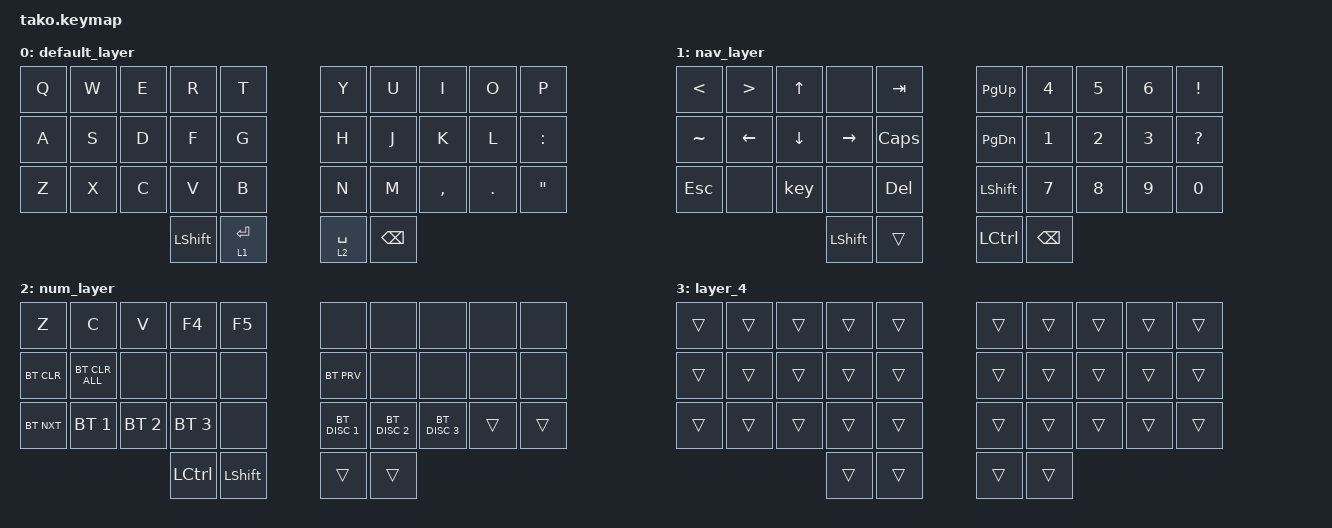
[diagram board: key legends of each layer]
/*
 * Copyright (c) 2020 The ZMK Contributors
 *
 * SPDX-License-Identifier: MIT
 */

#include <behaviors.dtsi>
#include <dt-bindings/zmk/bt.h>
#include <dt-bindings/zmk/keys.h>

#define NAV_L 1
#define OTHER_L 2
#define NUM_L 3
#define SYM_L 4

// Using layer taps on thumbs, having quick tap as well helps w/ repeating space/backspace

&lt {
    quick_tap_ms = <200>;
    flavor = "tap-preferred";
};

/ {
    behaviors {
        hm: homerow_mods {
            compatible = "zmk,behavior-hold-tap";
            label = "homerow mods";
            #binding-cells = <2>;
            tapping_term_ms = <200>;
            flavor = "tap-preferred";
            bindings = <&kp>, <&kp>;
        };
    };

    combos {
        compatible = "zmk,combos";

        esc {
            bindings = <&kp ESC>;
            key-positions = <0 1>;
        };

        bk {
            bindings = <&kp BACKSPACE>;
            key-positions = <8 9>;
        };

        win {
            bindings = <&kp LEFT_WIN>;
            key-positions = <30 31>;
        };

        del {
            bindings = <&kp DELETE>;
            key-positions = <10 11>;
        };

        caps {
            bindings = <&kp CAPS>;
            key-positions = <20 21>;
        };

        tab {
            bindings = <&kp TAB>;
            key-positions = <28 29>;
        };

        enter {
            bindings = <&kp ENTER>;
            key-positions = <18 19>;
        };

        pu {
            bindings = <&kp PAGE_UP>;
            key-positions = <6 7>;
        };

        pd {
            bindings = <&kp PAGE_DOWN>;
            key-positions = <16 17>;
        };

        home {
            bindings = <&kp HOME>;
            key-positions = <2 3>;
        };

        end {
            bindings = <&kp END>;
            key-positions = <12 13>;
        };

        zuokuohao {
            bindings = <&kp LS(NUMBER_9)>;
            key-positions = <7 8>;
        };

        youkuohao {
            bindings = <&kp LS(N0)>;
            key-positions = <17 18>;
        };

        diwuceng {
            bindings = <&mo 2>;
            key-positions = <28 27>;
        };
    };

    macros {
        key: key {
            compatible = "zmk,behavior-macro";
            #binding-cells = <0>;
            bindings = <&kp LS(C) &kp H &kp L &kp DOT &kp N8 &kp N8 &kp N0 &kp N6 &kp N0 &kp N2 &kp LS(N7) &kp LS(N8) &kp LS(N9) &kp ENTER>;
            label = "KEY";
        };
    };

    keymap {
        compatible = "zmk,keymap";

        default_layer {
            bindings = <
&kp Q  &kp W  &kp E  &kp R           &kp T          &kp Y        &kp U          &kp I      &kp O    &kp P
&kp A  &kp S  &kp D  &kp F           &kp G          &kp H        &kp J          &kp K      &kp L    &kp COLON
&kp Z  &kp X  &kp C  &kp V           &kp B          &kp N        &kp M          &kp COMMA  &kp DOT  &kp DOUBLE_QUOTES
                     &kp LEFT_SHIFT  &lt 1 ENTER    &lt 2 SPACE  &kp BACKSPACE
            >;
        };

        nav_layer {
            bindings = <
&kp LESS_THAN  &kp GREATER_THAN  &kp UP_ARROW  &none      &kp TAB       &kp PAGE_UP     &kp N4         &kp N5  &kp N6  &kp EXCLAMATION
&kp TILDE      &kp LEFT          &kp DOWN      &kp RIGHT  &kp CAPS      &kp PAGE_DOWN   &kp N1         &kp N2  &kp N3  &kp QUESTION
&kp ESC        &none             &key          &none      &kp DELETE    &kp LEFT_SHIFT  &kp N7         &kp N8  &kp N9  &kp N0
                                               &kp LSHFT  &trans        &kp LCTRL       &kp BACKSPACE
            >;
        };

        num_layer {
            bindings = <
&kp Z       &kp C           &kp V         &kp F4        &kp F5            &none          &none          &none          &none   &none
&bt BT_CLR  &bt BT_CLR_ALL  &none         &none         &none             &bt BT_PRV     &none          &none          &none   &none
&bt BT_NXT  &bt BT_SEL 1    &bt BT_SEL 2  &bt BT_SEL 3  &none             &bt BT_DISC 1  &bt BT_DISC 2  &bt BT_DISC 3  &trans  &trans
                                          &kp LCTRL     &kp LEFT_SHIFT    &trans         &trans
            >;
        };

        layer_4 {
            bindings = <
&trans  &trans  &trans  &trans  &trans    &trans  &trans  &trans  &trans  &trans
&trans  &trans  &trans  &trans  &trans    &trans  &trans  &trans  &trans  &trans
&trans  &trans  &trans  &trans  &trans    &trans  &trans  &trans  &trans  &trans
                        &trans  &trans    &trans  &trans
            >;
        };
    };
};
